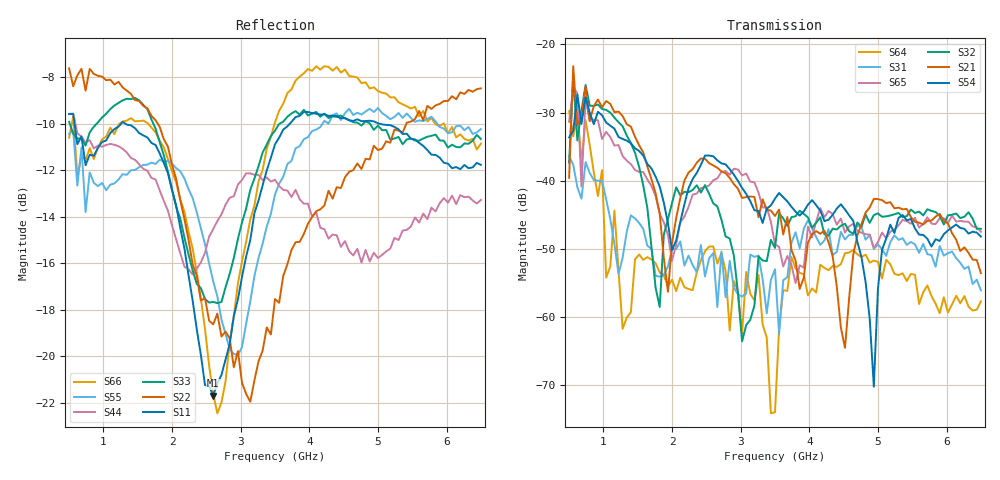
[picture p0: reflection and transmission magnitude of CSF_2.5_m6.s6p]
!Keysight Technologies,M9804A,MY58100912,A.14.10.03
!Date: Thursday, April 27, 2023 10:28:33
!Correction: S11(C  6-Port  )
!S12(C  6-Port  )
!S13(C  6-Port  )
!S14(C  6-Port  )
!S15(C  6-Port  )
!S16(C  6-Port  )
!S21(C  6-Port  )
!S22(C  6-Port  )
!S23(C  6-Port  )
!S24(C  6-Port  )
!S25(C  6-Port  )
!S26(C  6-Port  )
!S31(C  6-Port  )
!S32(C  6-Port  )
!S33(C  6-Port  )
!S34(C  6-Port  )
!S35(C  6-Port  )
!S36(C  6-Port  )
!S41(C  6-Port  )
!S42(C  6-Port  )
!S43(C  6-Port  )
!S44(C  6-Port  )
!S45(C  6-Port  )
!S46(C  6-Port  )
!S51(C  6-Port  )
!S52(C  6-Port  )
!S53(C  6-Port  )
!S54(C  6-Port  )
!S55(C  6-Port  )
!S56(C  6-Port  )
!S61(C  6-Port  )
!S62(C  6-Port  )
!S63(C  6-Port  )
!S64(C  6-Port  )
!S65(C  6-Port  )
!S66(C  6-Port  )
!S6P File: Measurement: :
# Hz S  RI  R 50
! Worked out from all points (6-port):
!   101 points, 500 MHz to 6.5 GHz, reference 50 ohm
!   strongest paths, dB at 500 MHz, 2 GHz, 3.5 GHz, 5 GHz, 6.5 GHz:
!     S54: -33.7, -50.2, -42.6, -55.9, -48.2
!     S21: -39.6, -49.1, -45.2, -42.7, -53.6
!     S32: -37.4, -43.3, -49.9, -44.8, -47.1
!     S65: -31.4, -51.8, -49.3, -49.0, -47.5
!     S31: -36.4, -50.0, -53.0, -49.4, -56.1
!     S64: -29.8, -54.5, -74.0, -51.9, -57.7
!   lowest |S11| = -21.7 dB at 2.6 GHz (marker M1), VSWR 1.18, Z = 42.7 + j2.1 ohm
!   |S11| at or under -10 dB: 578.9 MHz to 1.26 GHz (680.7 MHz wide, 74.1 % of centre); 1.316 GHz to 3.717 GHz (2.402 GHz wide, 95.4 % of centre); 5.015 GHz to end of sweep
